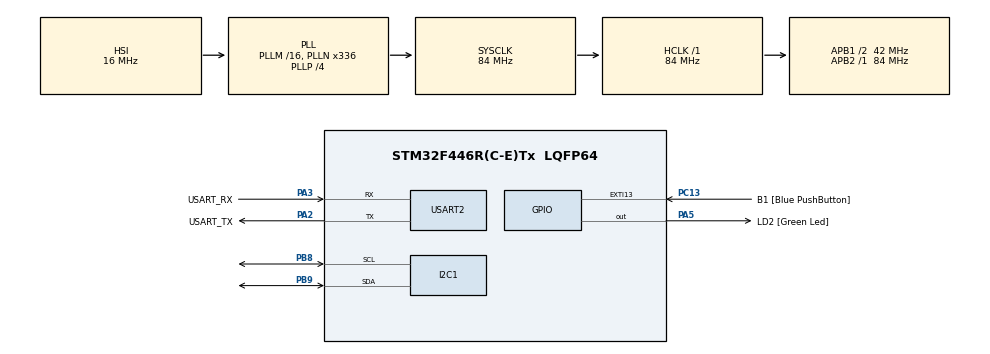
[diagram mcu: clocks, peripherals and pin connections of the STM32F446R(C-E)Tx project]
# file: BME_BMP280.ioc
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Mcu.Family=STM32F4
Mcu.Name=STM32F446R(C-E)Tx
Mcu.Package=LQFP64
NVIC.PriorityGroup=NVIC_PRIORITYGROUP_0
PA13.GPIO_Label=TMS
PA13.Mode=Serial_Wire
PA13.Signal=SYS_JTMS-SWDIO
PA14.GPIO_Label=TCK
PA14.Mode=Serial_Wire
PA14.Signal=SYS_JTCK-SWCLK
PA2.GPIO_Label=USART_TX
PA2.Mode=Asynchronous
PA2.Signal=USART2_TX
PA3.GPIO_Label=USART_RX
PA3.Mode=Asynchronous
PA3.Signal=USART2_RX
PA5.GPIO_Label=LD2 [Green Led]
PA5.Signal=GPIO_Output
PB3.GPIO_Label=SWO
PB3.Signal=SYS_JTDO-SWO
PB8.Mode=I2C
PB8.Signal=I2C1_SCL
PB9.Mode=I2C
PB9.Signal=I2C1_SDA
PC13.GPIO_Label=B1 [Blue PushButton]
PC13.GPIO_ModeDefaultEXTI=GPIO_MODE_IT_FALLING
PC13.Signal=GPXTI13
PC14-OSC32_IN.Mode=LSE-External-Oscillator
PC14-OSC32_IN.Signal=RCC_OSC32_IN
PC15-OSC32_OUT.Mode=LSE-External-Oscillator
PC15-OSC32_OUT.Signal=RCC_OSC32_OUT
PH0-OSC_IN.Mode=HSE-External-Oscillator
PH0-OSC_IN.Signal=RCC_OSC_IN
PH1-OSC_OUT.Mode=HSE-External-Oscillator
PH1-OSC_OUT.Signal=RCC_OSC_OUT
ProjectManager.HeapSize=0x200
ProjectManager.StackSize=0x400
ProjectManager.TargetToolchain=STM32CubeIDE
RCC.48MHZClocksFreq_Value=84000000
RCC.AHBFreq_Value=84000000
RCC.APB1CLKDivider=RCC_HCLK_DIV2
RCC.APB1Freq_Value=42000000
RCC.APB1TimFreq_Value=84000000
RCC.APB2Freq_Value=84000000
RCC.APB2TimFreq_Value=84000000
RCC.CortexFreq_Value=84000000
RCC.FLatency-AdvancedSettings=FLASH_LATENCY_2
RCC.HCLKFreq_Value=84000000
RCC.HSE_VALUE=8000000
RCC.HSI_VALUE=16000000
RCC.PLLN=336
RCC.PLLP=RCC_PLLP_DIV4
RCC.SYSCLKFreq_VALUE=84000000
RCC.SYSCLKSource=RCC_SYSCLKSOURCE_PLLCLK
RCC.USBFreq_Value=168000000
RCC.VCOOutputFreq_Value=336000000
USART2.VirtualMode=VM_ASYNC
board=NUCLEO-F446RE

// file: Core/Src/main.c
/* USER CODE BEGIN Header */
/**
  ******************************************************************************
  * @file           : main.c
  * @brief          : Main program body
  ******************************************************************************
  * @attention
  *
  * Copyright (c) 2023 STMicroelectronics.
  * All rights reserved.
  *
  * This software is licensed under terms that can be found in the LICENSE file
  * in the root directory of this software component.
  * If no LICENSE file comes with this software, it is provided AS-IS.
  *
  ******************************************************************************
  */
/* USER CODE END Header */
#include "main.h"

/* USER CODE BEGIN Includes */
#include "BME.h"
#include<string.h>
#include<stdio.h>

/* USER CODE END Includes */

I2C_HandleTypeDef hi2c1;

UART_HandleTypeDef huart2;

void SystemClock_Config(void);
static void MX_GPIO_Init(void);
static void MX_USART2_UART_Init(void);
static void MX_I2C1_Init(void);

/* USER CODE BEGIN 0 */
float Temperature, Pressure, Humidity;

/* USER CODE END 0 */

int main(void)
{
  /* USER CODE BEGIN 1 */
	uint8_t buff[100];

  /* USER CODE END 1 */

  /* MCU Configuration--------------------------------------------------------*/

  /* Reset of all peripherals, Initializes the Flash interface and the Systick. */
  HAL_Init();

  /* Configure the system clock */
  SystemClock_Config();

  /* Initialize all configured peripherals */
  MX_GPIO_Init();
  MX_USART2_UART_Init();
  MX_I2C1_Init();
  /* USER CODE BEGIN 2 */
  BME280_Config(OSRS_2, OSRS_16, OSRS_1, MODE_NORMAL, T_SB_0p5, IIR_16);

  /* USER CODE END 2 */

  /* Infinite loop */
  while (1)
  {

    /* USER CODE BEGIN 3 */
	  BME280_Measure();
	  if(Temperature>10)
	  {
		  Temperature *= 100;
		  Pressure *=100;
		  Humidity *=100;
		  sprintf((char *)buff, "%u.%02u C - %u.%02u Pa - %u.%02u %% \r\n",((unsigned int)Temperature /100),((unsigned int)Temperature %100),((unsigned int)Pressure /100),((unsigned int)Pressure % 100),((unsigned int)Humidity /100),((unsigned int)Humidity %100));
	  }
	  else
	  {
		  strcpy((char *)buff, "Error tx!\r\n");
	  }

	  //Sending out data
	  HAL_UART_Transmit(&huart2,buff, strlen((char *)buff),HAL_MAX_DELAY);

	  HAL_Delay(500);
  }
  /* USER CODE END 3 */
}

void SystemClock_Config(void)
{
  RCC_OscInitTypeDef RCC_OscInitStruct = {0};
  RCC_ClkInitTypeDef RCC_ClkInitStruct = {0};

  /** Configure the main internal regulator output voltage
  */
  __HAL_RCC_PWR_CLK_ENABLE();
  __HAL_PWR_VOLTAGESCALING_CONFIG(PWR_REGULATOR_VOLTAGE_SCALE3);

  /** Initializes the RCC Oscillators according to the specified parameters
  * in the RCC_OscInitTypeDef structure.
  */
  RCC_OscInitStruct.OscillatorType = RCC_OSCILLATORTYPE_HSI;
  RCC_OscInitStruct.HSIState = RCC_HSI_ON;
  RCC_OscInitStruct.HSICalibrationValue = RCC_HSICALIBRATION_DEFAULT;
  RCC_OscInitStruct.PLL.PLLState = RCC_PLL_ON;
  RCC_OscInitStruct.PLL.PLLSource = RCC_PLLSOURCE_HSI;
  RCC_OscInitStruct.PLL.PLLM = 16;
  RCC_OscInitStruct.PLL.PLLN = 336;
  RCC_OscInitStruct.PLL.PLLP = RCC_PLLP_DIV4;
  RCC_OscInitStruct.PLL.PLLQ = 2;
  RCC_OscInitStruct.PLL.PLLR = 2;
  if (HAL_RCC_OscConfig(&RCC_OscInitStruct) != HAL_OK)
  {
    Error_Handler();
  }

  /** Initializes the CPU, AHB and APB buses clocks
  */
  RCC_ClkInitStruct.ClockType = RCC_CLOCKTYPE_HCLK|RCC_CLOCKTYPE_SYSCLK
                              |RCC_CLOCKTYPE_PCLK1|RCC_CLOCKTYPE_PCLK2;
  RCC_ClkInitStruct.SYSCLKSource = RCC_SYSCLKSOURCE_PLLCLK;
  RCC_ClkInitStruct.AHBCLKDivider = RCC_SYSCLK_DIV1;
  RCC_ClkInitStruct.APB1CLKDivider = RCC_HCLK_DIV2;
  RCC_ClkInitStruct.APB2CLKDivider = RCC_HCLK_DIV1;

  if (HAL_RCC_ClockConfig(&RCC_ClkInitStruct, FLASH_LATENCY_2) != HAL_OK)
  {
    Error_Handler();
  }
}

static void MX_I2C1_Init(void)
{

  hi2c1.Instance = I2C1;
  hi2c1.Init.ClockSpeed = 100000;
  hi2c1.Init.DutyCycle = I2C_DUTYCYCLE_2;
  hi2c1.Init.OwnAddress1 = 0;
  hi2c1.Init.AddressingMode = I2C_ADDRESSINGMODE_7BIT;
  hi2c1.Init.DualAddressMode = I2C_DUALADDRESS_DISABLE;
  hi2c1.Init.OwnAddress2 = 0;
  hi2c1.Init.GeneralCallMode = I2C_GENERALCALL_DISABLE;
  hi2c1.Init.NoStretchMode = I2C_NOSTRETCH_DISABLE;
  if (HAL_I2C_Init(&hi2c1) != HAL_OK)
  {
    Error_Handler();
  }

}

static void MX_USART2_UART_Init(void)
{

  huart2.Instance = USART2;
  huart2.Init.BaudRate = 115200;
  huart2.Init.WordLength = UART_WORDLENGTH_8B;
  huart2.Init.StopBits = UART_STOPBITS_1;
  huart2.Init.Parity = UART_PARITY_NONE;
  huart2.Init.Mode = UART_MODE_TX_RX;
  huart2.Init.HwFlowCtl = UART_HWCONTROL_NONE;
  huart2.Init.OverSampling = UART_OVERSAMPLING_16;
  if (HAL_UART_Init(&huart2) != HAL_OK)
  {
    Error_Handler();
  }

}

static void MX_GPIO_Init(void)
{
  GPIO_InitTypeDef GPIO_InitStruct = {0};

  /* GPIO Ports Clock Enable */
  __HAL_RCC_GPIOC_CLK_ENABLE();
  __HAL_RCC_GPIOH_CLK_ENABLE();
  __HAL_RCC_GPIOA_CLK_ENABLE();
  __HAL_RCC_GPIOB_CLK_ENABLE();

  /*Configure GPIO pin Output Level */
  HAL_GPIO_WritePin(LD2_GPIO_Port, LD2_Pin, GPIO_PIN_RESET);

  /*Configure GPIO pin : B1_Pin */
  GPIO_InitStruct.Pin = B1_Pin;
  GPIO_InitStruct.Mode = GPIO_MODE_IT_FALLING;
  GPIO_InitStruct.Pull = GPIO_NOPULL;
  HAL_GPIO_Init(B1_GPIO_Port, &GPIO_InitStruct);

  /*Configure GPIO pin : LD2_Pin */
  GPIO_InitStruct.Pin = LD2_Pin;
  GPIO_InitStruct.Mode = GPIO_MODE_OUTPUT_PP;
  GPIO_InitStruct.Pull = GPIO_NOPULL;
  GPIO_InitStruct.Speed = GPIO_SPEED_FREQ_LOW;
  HAL_GPIO_Init(LD2_GPIO_Port, &GPIO_InitStruct);

}

void Error_Handler(void)
{
  __disable_irq();
  while (1)
  {
  }
}
